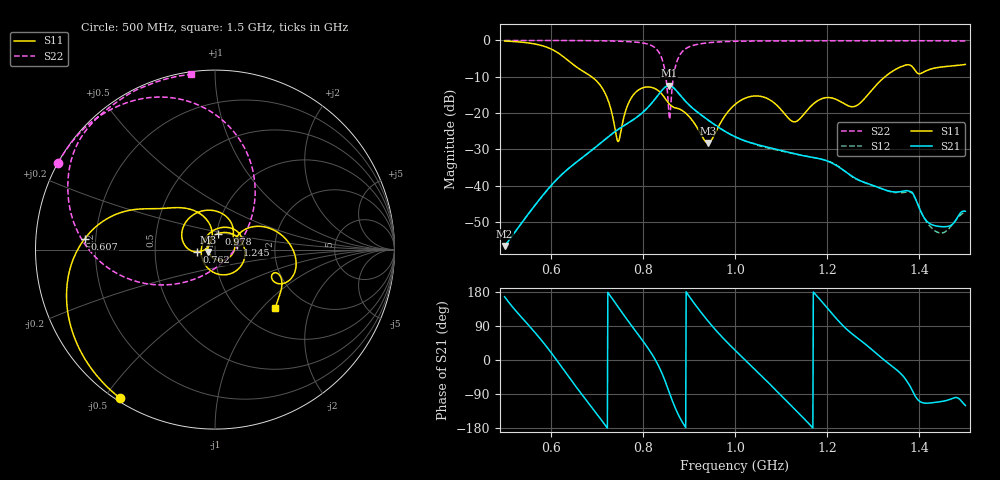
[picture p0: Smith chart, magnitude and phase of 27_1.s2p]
! TOUCHSTONE file generated by CST MICROWAVE STUDIO
! Date and time: Fri Oct  2 18:37:32 2020
! Project name: Scenario_1_Free_Space_out_of_line.cst
! Parameters = {Lambda=346.42; Step_1=17.321; dy1=-103.226; dx1=173; L_HA=400; MT=2.54; Rad_Dielectric=30; Rad_Lower=7.3; Rad_Upper=30; a_HA=580; a_WG=246; b_HA=500; b_WG=121; c_HA=0; c_WG=187; d_feed=85; h_feed=15; h_lower=18; h_upper=40}
! Header version: 2018
! Port assignment regex: !\s*Touchstone port\s*([0-9]+)\s*=\s*(CST MWS port|CST DS port)\s*([0-9]+|Zmin|Zmax)\s*\(\"(.*)\"\)(\s*mode\s*([0-9]+))?.*
! Touchstone port assignment:
! Touchstone port 1 = CST MWS port 1 ("")
! Touchstone port 2 = CST MWS port 2 ("")
# GHz S DB R 50
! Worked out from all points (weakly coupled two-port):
!   1003 points, 500 MHz to 1.5 GHz, reference 50 ohm
!   highest |S21| = -12.44 dB at 857 MHz (marker M1); lowest = -56.6 dB at 500 MHz (marker M2)
!   lowest |S11| = -28.3 dB at 941 MHz (marker M3), VSWR 1.08, Z = 46.5 - j1.18 ohm
!   |S11| at or under -10 dB: 688.7 MHz to 1.326 GHz (636.9 MHz wide, 63.2 % of centre)
!   |S22| runs from -21.7 to 0.0 dB; largest |S21 - S12| = 0.0011
!   S11 on the Smith chart (normalised r, x): 500 MHz: 0.01, -0.55; 607 MHz: 0.16, +0.04; 762 MHz: 0.81, -0.02; 978 MHz: 1.02, +0.18; 1.245 GHz: 1.28, +0.07; 1.5 GHz: 1.44, -1.19
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0.5  -0.16 -122.7  -56.63 167.0  -56.69 166.8  -0.01 151.1
0.607  -2.75 175.2  -39.13 9.6  -39.16 10.4  -0.02 143.5
0.667  -8.25 143.9  -32.46 -89.9  -32.46 -90.0  -0.05 138.2
0.716  -14.03 109.6  -27.46 -168.2  -27.46 -168.2  -0.11 132.6
0.746  -27.86 142.0  -24.56 140.5  -24.56 140.5  -0.21 128.1
0.762  -19.68 -172.8  -23.25 113.1  -23.25 113.1  -0.28 125.0
0.792  -13.53 150.4  -20.66 63.7  -20.67 63.7  -0.56 116.6
0.834  -13.90 76.6  -14.93 -15.3  -14.93 -15.4  -3.08 84.5
0.857  -17.46 40.3  -12.44 -84.4  -12.44 -84.4  -20.85 -19.7
0.868  -18.50 29.3  -13.19 -120.0  -13.21 -120.0  -8.82 -147.1
0.887  -19.44 -2.5  -15.99 -166.6  -15.99 -166.5  -2.90 178.6
0.941  -28.26 -160.9  -21.89 103.4  -21.88 103.4  -0.65 151.1
0.978  -20.79 78.2  -25.04 52.9  -25.04 52.8  -0.33 143.5
1  -17.66 40.7  -26.53 26.0  -26.55 25.9  -0.24 140.1
1.079  -16.65 -73.0  -29.67 -67.8  -29.85 -67.8  -0.13 131.3
1.128  -22.42 171.5  -31.22 -127.9  -31.22 -127.8  -0.12 127.1
1.167  -17.85 73.4  -32.20 -176.7  -32.16 -177.0  -0.11 124.0
1.245  -17.98 11.4  -36.65 78.4  -36.70 77.5  -0.08 118.1
1.334  -9.17 18.0  -41.51 -9.9  -41.58 -10.7  -0.09 111.4
1.383  -7.03 -23.2  -41.77 -76.3  -41.96 -78.3  -0.09 107.6
1.443  -7.40 -29.4  -51.25 -110.4  -53.02 -105.0  -0.10 102.7
1.5  -6.61 -43.8  -47.08 -120.0  -47.20 -118.8  -0.13 97.7
